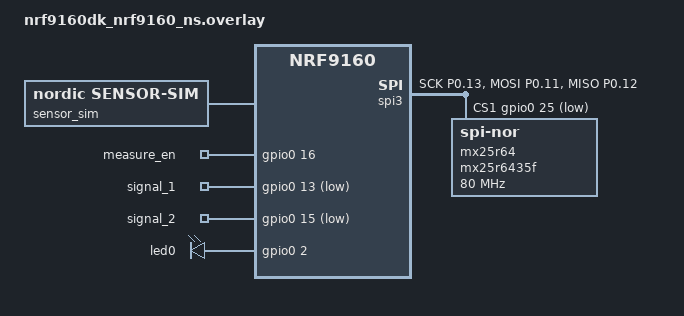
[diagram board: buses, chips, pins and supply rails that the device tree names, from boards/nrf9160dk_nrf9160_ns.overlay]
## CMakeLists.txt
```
#
# Copyright (c) 2018 Nordic Semiconductor
#
# SPDX-License-Identifier: LicenseRef-Nordic-5-Clause
#

cmake_minimum_required(VERSION 3.20.0)

find_package(Zephyr REQUIRED HINTS $ENV{ZEPHYR_BASE})
project(lwm2m_client)
zephyr_compile_definitions(PROJECT_NAME=${PROJECT_NAME})

# NORDIC SDK APP START
target_sources(app PRIVATE src/main.c)
zephyr_include_directories(src)
# NORDIC SDK APP END

# Include application events and configuration headers
zephyr_library_include_directories(
	src/lwm2m
	src/custom_objects
	src/events
	src/sensors
	src/modules
	)

# Application sources
add_subdirectory(src/lwm2m)
add_subdirectory(src/custom_objects)
add_subdirectory(src/events)
add_subdirectory(src/sensors)
add_subdirectory(src/modules)
```

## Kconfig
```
#
# Copyright (c) 2018 Nordic Semiconductor ASA
#
# SPDX-License-Identifier: LicenseRef-Nordic-5-Clause
#

menu "Application sample"

rsource "src/modules/Kconfig"
rsource "src/lwm2m/Kconfig"

menu "LwM2M objects"

menuconfig APP_GNSS
	bool "Enable GNSS"
	select GNSS
	select LWM2M_LOCATION_OBJ_SUPPORT

if APP_GNSS
	rsource "src/sensors/Kconfig.gnss"
endif # APP_GNSS


menuconfig APP_WATER_METER
	bool "Enable water meter"
	select LWM2M_UCIFI_APP_WATER_METER
	select LWM2M_APP_WATER_METER

if APP_WATER_METER
	rsource "src/custom_objects/Kconfig.ucifi_water_meter"
endif # APP_GNS


endmenu # LwM2M objects

config APP_LWM2M_PSK
	string "LwM2M pre-shared key for communication"
	default "000102030405060708090a0b0c0d0e0f"
	help
	  Pre Shared Key must be identical to the PSK registered with the device on the LwM2M server.
	  Use the hexadecimal representation.

config APP_ENDPOINT_PREFIX
	string "Prefix used in the endpoint name"
	default "urn:imei:"
	help
	  Sets the prefix of the endpoint name used when connecting to the LwM2M server.
menu "Device info"
config APP_MANUFACTURER
	string "Board manufacturer"
	default	"Nordic Semiconductor ASA"

config APP_DEVICE_TYPE
	string "Device type"
	default	"OMA-LWM2M Client"
endmenu

config APP_CUSTOM_VERSION
	string "Application version. Leave empty to use NCS version"

config APP_NEIGHBOUR_CELL_SCAN_INTERVAL
	int "Interval time [s] between neighbour cell scans"
	depends on LWM2M_CLIENT_UTILS_SIGNAL_MEAS_INFO_OBJ_SUPPORT
	default 600
	help
	  Low value on interval may reduce the performance of the system.

config APP_LWM2M_CONFORMANCE_TESTING
	bool "Send test payload periodically"
	help
	  Enable functionality that uses LwM2M SEND operation to deliver test payload.
	  This allows testing of SEND operation itself as well as "mute-send" resource.

module = APP
module-dep = LOG
module-str = Log level for sample
source "${ZEPHYR_BASE}/subsys/logging/Kconfig.template.log_config"
endmenu # Application sample


menu "Zephyr Kernel"
source "Kconfig.zephyr"
endmenu # Zephyr Kernel
```

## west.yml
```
manifest:
  projects:
    - name: nrf
      url: https://github.com/SeppoTakalo/sdk-nrf
      revision: lwm2m_rai
      import: true
  self:
    path: lwm2m-water-meter
```

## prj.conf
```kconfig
# General config
CONFIG_ASSERT=y
CONFIG_REBOOT=y

# Network
CONFIG_NETWORKING=y
CONFIG_NET_NATIVE=n
CONFIG_NET_IPV6=n
CONFIG_NET_IPV4=y
CONFIG_NET_SOCKETS=y
CONFIG_NET_SOCKETS_OFFLOAD=y

# Sensors
CONFIG_SPI=y
CONFIG_SENSOR=y

# LwM2M and IPSO
CONFIG_LWM2M=y
CONFIG_LWM2M_COAP_BLOCK_SIZE=512
CONFIG_LWM2M_COAP_MAX_MSG_SIZE=1280
CONFIG_LWM2M_ENGINE_MAX_OBSERVER=15
CONFIG_LWM2M_ENGINE_MAX_MESSAGES=15
CONFIG_LWM2M_ENGINE_MAX_PENDING=15
CONFIG_LWM2M_ENGINE_MAX_REPLIES=15
CONFIG_LWM2M_DNS_SUPPORT=y
CONFIG_LWM2M_RW_JSON_SUPPORT=n
CONFIG_LWM2M_SERVER_DEFAULT_PMIN=1
CONFIG_LWM2M_SERVER_DEFAULT_PMAX=300
CONFIG_LWM2M_CLIENT_UTILS=y
CONFIG_LWM2M_CLIENT_UTILS_LOCATION_OBJ_SUPPORT=n
CONFIG_LWM2M_IPSO_SUPPORT=y

# DTLS settings
CONFIG_LWM2M_DTLS_SUPPORT=y

# Modem key management
CONFIG_MODEM_KEY_MGMT=y

# Default app to debug logging
CONFIG_LOG=y
CONFIG_APP_LOG_LEVEL_DBG=y

# Support HEX style PSK values (double the size + NULL char)
CONFIG_LWM2M_SECURITY_KEY_SIZE=33

# extend CoAP retry timing to 4 seconds for LTE/LTE-M
CONFIG_COAP_INIT_ACK_TIMEOUT_MS=4000

# Enable CoAP extended option length
CONFIG_COAP_EXTENDED_OPTIONS_LEN=y
CONFIG_COAP_EXTENDED_OPTIONS_LEN_VALUE=40

# Enable settings storage
CONFIG_SETTINGS=y
CONFIG_FCB=y
CONFIG_SETTINGS_FCB=y
CONFIG_FLASH_MAP=y
CONFIG_STREAM_FLASH=y

# LTE link control
CONFIG_LTE_LINK_CONTROL=y
CONFIG_LTE_NETWORK_MODE_LTE_M_GPS=y

# Modem library
CONFIG_NRF_MODEM_LIB=y

# Modem info
CONFIG_MODEM_INFO=y
CONFIG_MODEM_INFO_ADD_DATE_TIME=n

# Enable shell
CONFIG_LWM2M_SHELL=y

# Heap and stacks
CONFIG_HEAP_MEM_POOL_SIZE=16384
CONFIG_MAIN_STACK_SIZE=4096
CONFIG_LWM2M_ENGINE_STACK_SIZE=3072
CONFIG_SYSTEM_WORKQUEUE_STACK_SIZE=2048
CONFIG_AT_MONITOR_HEAP_SIZE=1024

# Allow FOTA downloads using download-client
CONFIG_DOWNLOAD_CLIENT=y
CONFIG_DOWNLOAD_CLIENT_STACK_SIZE=4096
CONFIG_DOWNLOAD_CLIENT_HTTP_FRAG_SIZE_1024=y
CONFIG_FOTA_DOWNLOAD=y

# Application version
CONFIG_MCUBOOT_IMGTOOL_SIGN_VERSION="1.3.0"

# Set LwM2M Server IP address here
# CONFIG_LWM2M_CLIENT_UTILS_SERVER="coaps://leshan.eclipseprojects.io:5684"
CONFIG_LWM2M_CLIENT_UTILS_SERVER="coaps://eu.iot.avsystem.cloud:5684"

# Application Event Manager
CONFIG_APP_EVENT_MANAGER=y

# Date-Time library
CONFIG_DATE_TIME=y
CONFIG_DATE_TIME_UPDATE_INTERVAL_SECONDS=86400

# Enable LwM2M Queue Mode
CONFIG_LWM2M_QUEUE_MODE_ENABLED=y

#Support for time series data
CONFIG_LWM2M_RESOURCE_DATA_CACHE_SUPPORT=y

# Use DTLS Connection ID
CONFIG_LWM2M_DTLS_CID=y

# When DTLS CID is used, we can keep the socket open.
# If the server is not supporting CID, CONFIG_LWM2M_RD_CLIENT_SUSPEND_SOCKET_AT_IDLE should
# be used instead.
CONFIG_LWM2M_RD_CLIENT_STOP_POLLING_AT_IDLE=y

# Enable TLS session caching to prevent doing a full TLS handshake when recovering the session
CONFIG_LWM2M_TLS_SESSION_CACHING=y

# Sets the duration that the lwm2m engine will be polling for data after transmission before
# the socket is closed.
# Adjust so that we can detach from network in 30 seconds
CONFIG_LWM2M_QUEUE_MODE_UPTIME=30

# Set lifetime of 24 hours
CONFIG_LWM2M_ENGINE_DEFAULT_LIFETIME=86400

# Do registration update after 5400 seconds (90 minutes)
# CONFIG_LWM2M_UPDATE_PERIOD=5400
CONFIG_LWM2M_SECONDS_TO_UPDATE_EARLY=300

# Configure PSM mode
CONFIG_LTE_PSM_REQ=y
# Request periodic TAU of 24 hours (same as lifetime)
CONFIG_LTE_PSM_REQ_RPTAU="00111000"

# Set Requested Active Time (RAT) to 30 seconds. Preferably same as the
# configured LWM2M_QUEUE_MODE_UPTIME. Due to NAT/firewall UDP connections are usually
# closed within 30-60 seconds so there is in general no point in setting a longer
# Queue mode uptime / LTE PSM active time.
CONFIG_LTE_PSM_REQ_RAT="00001111"

# Request eDRX mode
CONFIG_LTE_EDRX_REQ=y

# Requested eDRX cycle length for LTE-M and Nb-IoT
# This should be fine-tuned for the network and the chosen server.
# Lowest value is  the most responsive, but uses more energy during the active eDRX period.
# Longer period may cause more CoAP packet drops on server requests.
# "0000" is 5.12 s
# "0001" is 10.24 s
# "0010" is 20.48 s.

# Request eDRX cycle length of 10.24 seconds for LTE-M
CONFIG_LTE_EDRX_REQ_VALUE_LTE_M="0001"
# Request eDRX cycle length of 20.48 seconds for NB-IoT
CONFIG_LTE_EDRX_REQ_VALUE_NBIOT="0010"

# Request Paging time window of 1.28 seconds for LTE-M
CONFIG_LTE_PTW_VALUE_LTE_M="0000"

# Request Paging time window of 2.56 seconds for NB-IoT
CONFIG_LTE_PTW_VALUE_NBIOT="0000"

# Get notification before Tracking Area Update (TAU). Notification triggers registration
# update and TAU will be sent with the update which decreases power consumption.
CONFIG_LTE_LC_TAU_PRE_WARNING_NOTIFICATIONS=y

# Optimize powersaving by using tickless mode in LwM2M engine
CONFIG_NET_SOCKETPAIR=y
CONFIG_LWM2M_TICKLESS=y
# Enable Release Assistance Indication
CONFIG_LWM2M_CLIENT_UTILS_RAI=y
```

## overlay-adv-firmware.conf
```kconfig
# mcuboot
CONFIG_LWM2M_CLIENT_UTILS=y
CONFIG_LWM2M_CLIENT_UTILS_ADV_FIRMWARE_UPDATE_OBJ_SUPPORT=y
CONFIG_LWM2M_CLIENT_UTILS_FIRMWARE_UPDATE_OBJ_SUPPORT=y
CONFIG_LWM2M_FIRMWARE_UPDATE_OBJ_SUPPORT=n
CONFIG_FOTA_CLIENT_AUTOSCHEDULE_UPDATE=n
```

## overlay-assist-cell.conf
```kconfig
CONFIG_NEWLIB_LIBC_FLOAT_PRINTF=y
#LwM2M Client utility library options
CONFIG_LWM2M_CLIENT_UTILS_GROUND_FIX_OBJ_SUPPORT=y
CONFIG_LWM2M_CLIENT_UTILS_LOCATION_ASSIST_CELL=y
CONFIG_LWM2M_CLIENT_UTILS_NEIGHBOUR_CELL_LISTENER=y
#  require neighbour cell info, just for test, added by Noy
CONFIG_APP_NEIGHBOUR_CELL_SCAN_INTERVAL=3600            
#Enable LwM2M 1.1
CONFIG_LWM2M_VERSION_1_1=y
CONFIG_LWM2M_COMPOSITE_PATH_LIST_SIZE=10
#Enable SenML-CBOR content format
CONFIG_LWM2M_RW_SENML_CBOR_SUPPORT=y
CONFIG_ZCBOR=y
CONFIG_ZCBOR_CANONICAL=y
CONFIG_LWM2M_RW_SENML_CBOR_RECORDS=35
# Increase AT monitor heap because %NCELLMEAS notifications can be large
CONFIG_AT_MONITOR_HEAP_SIZE=512
```

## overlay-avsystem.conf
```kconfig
CONFIG_LWM2M_CLIENT_UTILS_SERVER="coaps://eu.iot.avsystem.cloud:5684"
CONFIG_APP_LWM2M_PSK="000102030405060708090a0b0c0d0f0e"
# CONFIG_APP_LWM2M_PSK=""

# Enable TLV, AVSystem uses this as a default.
# Can be disabled once device dialect is changed from server side.
CONFIG_LWM2M_RW_OMA_TLV_SUPPORT=y

# AVSystem FOTA defaults to CoAPS so use the same security tag than where our
# DTLS credentials are stored.
CONFIG_LWM2M_CLIENT_UTILS_DOWNLOADER_SEC_TAG=35724861
```

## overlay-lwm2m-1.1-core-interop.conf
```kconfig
# Disable Application sensor Object and GNSS modules.
# This is done to reduce the amount of data that needs to be send when reading
# the root path.

CONFIG_APP_GNSS=n

# Disable Signal measurement
CONFIG_LWM2M_CLIENT_UTILS_SIGNAL_MEAS_INFO_OBJ_SUPPORT=n

# Enable Portfolio object
CONFIG_LWM2M_PORTFOLIO_OBJ_SUPPORT=y

# LwM2M v1.1 configure
CONFIG_LWM2M_VERSION_1_1=y
CONFIG_LWM2M_RW_OMA_TLV_SUPPORT=y
CONFIG_LWM2M_COMPOSITE_PATH_LIST_SIZE=10

# Enable SenML JSON content format
CONFIG_BASE64=y
CONFIG_JSON_LIBRARY=y
CONFIG_LWM2M_RW_SENML_JSON_SUPPORT=y

# Enable SenML-CBOR content format
CONFIG_LWM2M_RW_SENML_CBOR_SUPPORT=y
CONFIG_LWM2M_RW_SENML_CBOR_RECORDS=55
CONFIG_ZCBOR_CANONICAL=y

# Enable legacy JSON content format
CONFIG_LWM2M_RW_JSON_SUPPORT=y

# Enable dynamic Send Operation
CONFIG_APP_LWM2M_CONFORMANCE_TESTING=y
```

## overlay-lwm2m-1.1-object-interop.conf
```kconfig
# Disable Application sensor Object and GNSS modules.
# This is done to reduce the amount of data that needs to be send when reading
# the root path.

CONFIG_APP_PUSH_BUTTON=n
CONFIG_APP_GNSS=n

# Enable Portfolio object
CONFIG_LWM2M_PORTFOLIO_OBJ_SUPPORT=y

# LwM2M v1.1 configure
CONFIG_LWM2M_VERSION_1_1=y
CONFIG_LWM2M_RW_OMA_TLV_SUPPORT=y
CONFIG_LWM2M_COMPOSITE_PATH_LIST_SIZE=10

# Enable SenML JSON content format
CONFIG_BASE64=y
CONFIG_JSON_LIBRARY=y
CONFIG_LWM2M_RW_SENML_JSON_SUPPORT=y

# Enable SenML-CBOR content format
CONFIG_LWM2M_RW_SENML_CBOR_SUPPORT=y
CONFIG_LWM2M_RW_SENML_CBOR_RECORDS=55
CONFIG_ZCBOR_CANONICAL=y

# Enable legacy JSON content format
CONFIG_LWM2M_RW_JSON_SUPPORT=y

# Enable dynamic Send Operation
CONFIG_APP_LWM2M_CONFORMANCE_TESTING=y
```

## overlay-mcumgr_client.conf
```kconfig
#enable Client init
# CONFIG_APP_SMP_CLIENT_FOTA_EXTERNAL=y

# Enable mcumgr smp client and shell
CONFIG_CONSOLE=y
CONFIG_SHELL=y
CONFIG_NRF_MCUMGR_SMP_CLIENT=y
CONFIG_NRF_MCUMGR_SMP_CLIENT_SHELL=y

# Ensure an MCUboot-compatible binary is generated.
CONFIG_BOOTLOADER_MCUBOOT=y

# Enable flash operations.
CONFIG_FLASH=y

# Enable most core commands.
CONFIG_MCUMGR_GRP_IMG=y
CONFIG_MCUMGR_GRP_OS=y

# Enable the serial mcumgr transport.
CONFIG_MCUMGR_TRANSPORT_UART=y
CONFIG_UART_MCUMGR_RX_BUF_COUNT=4
# Add more recors to SENML CBOR
CONFIG_LWM2M_RW_SENML_CBOR_RECORDS=55
# Extend System Workqueue stack size
CONFIG_SYSTEM_WORKQUEUE_STACK_SIZE=2304

# Enable MCUboot hooks
CONFIG_BOOT_IMAGE_ACCESS_HOOKS=y
```

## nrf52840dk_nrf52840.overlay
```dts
/* Copyright (c) 2021-2022 Nordic Semiconductor ASA
 *
 * SPDX-License-Identifier: LicenseRef-Nordic-5-Clause
 */

 / {
	pwmleds1 {
		compatible = "pwm-leds";
		status = "okay";

		pwm_led1: led_pwm_1 {
			status = "okay";
			pwms = <&pwm1 0 PWM_MSEC(20) PWM_POLARITY_INVERTED>;
			label = "LED 2";
		};
	};

	pwmleds2 {
		compatible = "pwm-leds";
		status = "okay";

		pwm_led2: led_pwm_2 {
			status = "okay";
			pwms = <&pwm2 0 PWM_MSEC(20) PWM_POLARITY_INVERTED>;
			label = "LED 3";
		};
	};

	pwmleds3 {
		compatible = "pwm-leds";
		status = "okay";

		pwm_led3: led_pwm_3 {
			status = "okay";
			pwms = <&pwm3 0 PWM_MSEC(20) PWM_POLARITY_INVERTED>;
			label = "LED 4";
		};
	};
};

&pwm0 {
	status = "okay";
	pinctrl-0 = <&pwm0_default_alt>;
	pinctrl-1 = <&pwm0_sleep_alt>;
	pinctrl-names = "default", "sleep";
};

&pwm1 {
	status = "okay";
	pinctrl-0 = <&pwm1_default_alt>;
	pinctrl-1 = <&pwm1_sleep_alt>;
	pinctrl-names = "default", "sleep";
};

&pwm2 {
	status = "okay";
	pinctrl-0 = <&pwm2_default_alt>;
	pinctrl-1 = <&pwm2_sleep_alt>;
	pinctrl-names = "default", "sleep";
};

&pwm3 {
	status = "okay";
	pinctrl-0 = <&pwm3_default_alt>;
	pinctrl-1 = <&pwm3_sleep_alt>;
	pinctrl-names = "default", "sleep";
};

&pwm_led0 {
	status = "okay";
	pwms = <&pwm0 0 PWM_MSEC(20) PWM_POLARITY_INVERTED>;
	label = "LED 1";
};

&pinctrl {
	pwm0_default_alt: pwm0_default_alt {
		group1 {
			psels = <NRF_PSEL(PWM_OUT0, 0, 13)>;
			nordic,invert;
		};
	};

	pwm0_sleep_alt: pwm0_sleep_alt {
		group1 {
			psels = <NRF_PSEL(PWM_OUT0, 0, 13)>;
			low-power-enable;
		};
	};

	pwm1_default_alt: pwm1_default_alt {
		group1 {
			psels = <NRF_PSEL(PWM_OUT0, 0, 14)>;
			nordic,invert;
		};
	};

	pwm1_sleep_alt: pwm1_sleep_alt {
		group1 {
			psels = <NRF_PSEL(PWM_OUT0, 0, 14)>;
			low-power-enable;
		};
	};

	pwm2_default_alt: pwm2_default_alt {
		group1 {
			psels = <NRF_PSEL(PWM_OUT0, 0, 15)>;
            // psels = <NRF_PSEL(PWM_OUT0, 0, 10)>;            
			nordic,invert;
		};
	};

	pwm2_sleep_alt: pwm2_sleep_alt {
		group1 {
			psels = <NRF_PSEL(PWM_OUT0, 0, 15)>;
            // psels = <NRF_PSEL(PWM_OUT0, 0, 10)>; 
			low-power-enable;
		};
	};

	pwm3_default_alt: pwm3_default_alt {
		group1 {
			psels = <NRF_PSEL(PWM_OUT0, 0, 16)>;
			nordic,invert;
		};
	};

	pwm3_sleep_alt: pwm3_sleep_alt {
		group1 {
			psels = <NRF_PSEL(PWM_OUT0, 0, 16)>;
			low-power-enable;
		};
	};
};
```

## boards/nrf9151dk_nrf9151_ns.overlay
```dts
/*
 * Copyright (c) 2024 Nordic Semiconductor ASA
 *
 * SPDX-License-Identifier: LicenseRef-Nordic-5-Clause
 */
 / {
	sensor_sim: sensor-sim {
		compatible = "nordic,sensor-sim";
		status = "okay";
		acc-signal = "wave";
	};

	measure {
		compatible = "nordic,nrf-pinctrl";
		en {
			compatible = "gpio-leds";
			measure_en: measure_en {
				gpios = <&gpio0 16 0x0>;
				label = "measure_en";
			};
		};
		signal {
			compatible = "gpio-keys";
			signal1: signal_1 {
				// gpios = <&gpio0 13 0x1>;			//for 9160DK
				gpios = <&gpio0 6 0x1>;				//for 9151dk
				label = "signal_1";
			};
			signal2: signal_2 {
				// gpios = <&gpio0 15 0x1>;			//for 9160DK
				gpios = <&gpio0 7 0x1>;				//for 9151dk
				label = "signal_2";
			};
		};
	};
};


&gpio0 {
	status = "okay";
	sense-edge-mask = < 0x4040 >;
 };



&led0 {
	gpios = <&gpio0 2 0>;
};



/* External flash device is disabled by default */
&gd25wb256 {
	status = "okay";
};
```

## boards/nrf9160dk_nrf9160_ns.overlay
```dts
/*
 * Copyright (c) 2021 Nordic Semiconductor ASA
 *
 * SPDX-License-Identifier: LicenseRef-Nordic-5-Clause
 */

/ {
	sensor_sim: sensor-sim {
		compatible = "nordic,sensor-sim";
		status = "okay";
		acc-signal = "wave";
	};

	measure {
		compatible = "nordic,nrf-pinctrl";
		en {
			compatible = "gpio-leds";
			measure_en: measure_en {
				gpios = <&gpio0 16 0x0>;
				label = "measure_en";
			};
		};
		signal {
			compatible = "gpio-keys";
			signal1: signal_1 {
				gpios = <&gpio0 13 0x1>;
				label = "signal_1";
			};
			signal2: signal_2 {
				gpios = <&gpio0 15 0x1>;
				label = "signal_2";
			};
		};
	};
};

&spi3 {
	compatible = "nordic,nrf-spim";
	status = "okay";
	pinctrl-0 = <&spi3_default_alt>;
	pinctrl-1 = <&spi3_sleep_alt>;
	pinctrl-names = "default", "sleep";
	cs-gpios = <&arduino_header 16 GPIO_ACTIVE_LOW>, /* D10 */
		   <&gpio0 25 GPIO_ACTIVE_LOW>;
	mx25r64: mx25r6435f@1 {
		compatible = "jedec,spi-nor";
		reg = <1>;
		status = "okay";
		spi-max-frequency = <80000000>;
		jedec-id = [c2 28 17];
		size = <67108864>;
	};
};

&pinctrl {
	spi3_default_alt: spi3_default_alt {
		group1 {
			psels = <NRF_PSEL(SPIM_SCK, 0, 13)>,
				<NRF_PSEL(SPIM_MOSI, 0, 11)>,
				<NRF_PSEL(SPIM_MISO, 0, 12)>;
		};
	};

	spi3_sleep_alt: spi3_sleep_alt {
		group1 {
			psels = <NRF_PSEL(SPIM_SCK, 0, 13)>,
				<NRF_PSEL(SPIM_MOSI, 0, 11)>,
				<NRF_PSEL(SPIM_MISO, 0, 12)>;
			low-power-enable;
		};
	};
};


&gpio0 {
	status = "okay";
	sense-edge-mask = < 0x4040 >;
 };



&led0 {
	gpios = <&gpio0 2 0>;
};
```

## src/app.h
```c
/* Copyright (c) 2023, Nordic Semiconductor ASA
*
* All rights reserved.
*
* Redistribution and use in source and binary forms, with or without modification,
* are permitted provided that the following conditions are met:
*
* 1. Redistributions of source code must retain the above copyright notice, this
*    list of conditions and the following disclaimer.
*
* 2. Redistributions in binary form, except as embedded into a Nordic
*    Semiconductor ASA integrated circuit in a product or a software update for
*    such product, must reproduce the above copyright notice, this list of
*    conditions and the following disclaimer in the documentation and/or other
*    materials provided with the distribution.
*
* 3. Neither the name of Nordic Semiconductor ASA nor the names of its
*    contributors may be used to endorse or promote products derived from this
*   software without specific prior written permission.
*
* 4. This software, with or without modification, must only be used with a
*    Nordic Semiconductor ASA integrated circuit.
*
* 5. Any software provided in binary form under this license must not be reverse
*    engineered, decompiled, modified and/or disassembled.
*
* THIS SOFTWARE IS PROVIDED BY NORDIC SEMICONDUCTOR ASA "AS IS" AND ANY EXPRESS
* OR IMPLIED WARRANTIES, INCLUDING, BUT NOT LIMITED TO, THE IMPLIED WARRANTIES
* OF MERCHANTABILITY, NONINFRINGEMENT, AND FITNESS FOR A PARTICULAR PURPOSE ARE
* DISCLAIMED. IN NO EVENT SHALL NORDIC SEMICONDUCTOR ASA OR CONTRIBUTORS BE
* LIABLE FOR ANY DIRECT, INDIRECT, INCIDENTAL, SPECIAL, EXEMPLARY, OR
* CONSEQUENTIAL DAMAGES (INCLUDING, BUT NOT LIMITED TO, PROCUREMENT OF SUBSTITUTE
* GOODS OR SERVICES; LOSS OF USE, DATA, OR PROFITS; OR BUSINESS INTERRUPTION)
* HOWEVER CAUSED AND ON ANY THEORY OF LIABILITY, WHETHER IN CONTRACT, STRICT
* LIABILITY, OR TORT (INCLUDING NEGLIGENCE OR OTHERWISE) ARISING IN ANY WAY OUT
* OF THE USE OF THIS SOFTWARE, EVEN IF ADVISED OF THE POSSIBILITY OF SUCH DAMAGE.
*/

#ifndef _APP_H
#define _APP_H

void send_data_to_server(void);

#endif /* _APP_H */
```
